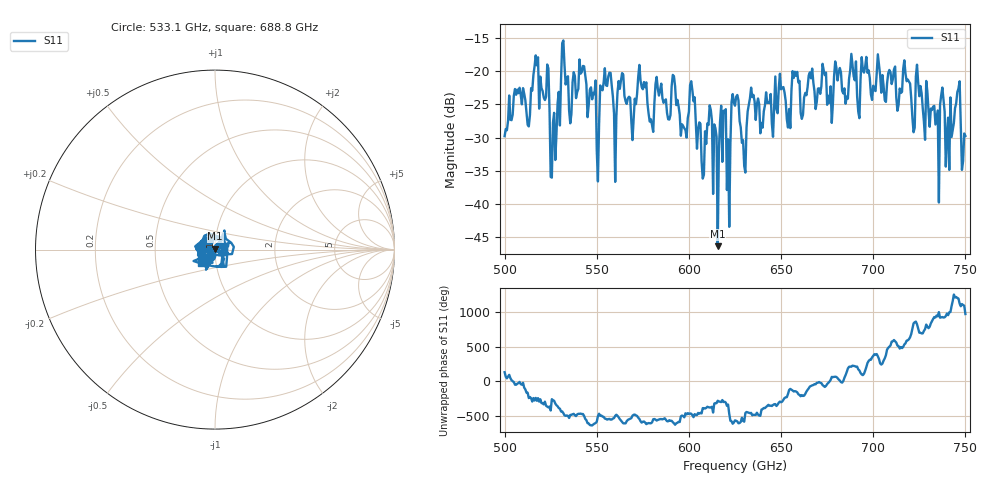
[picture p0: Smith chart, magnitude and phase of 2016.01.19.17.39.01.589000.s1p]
!Created with skrf (http://scikit-rf.org).
# GHz S RI R 50.0
!freq ReS11 ImS11
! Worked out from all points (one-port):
!   401 points, 500 GHz to 750 GHz, reference 50 ohm
!   lowest |S11| = -46.4 dB at 615.6 GHz (marker M1), VSWR 1.01, Z = 50.1 + j0.466 ohm
!   |S11| at or under -10 dB: start of sweep to end of sweep
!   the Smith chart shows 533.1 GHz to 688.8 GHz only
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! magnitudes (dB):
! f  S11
! 500 GHz  -29.8
! 506.9 GHz  -22.7
! 513.1 GHz  -28.3
! 516.9 GHz  -17.6
! 523.1 GHz  -19.0
! 526.2 GHz  -27.7
! 531.2 GHz  -15.8
! 535.6 GHz  -27.8
! 541.9 GHz  -20.1
! 550 GHz  -31.9
! 553.1 GHz  -22.9
! 560 GHz  -36.7
! 562.5 GHz  -22.6
! 593.8 GHz  -24.3
! 615.6 GHz  -46.4
! 618.8 GHz  -25.9
! 621.9 GHz  -43.5
! 625 GHz  -25.2
! 630 GHz  -34.3
! 633.8 GHz  -22.5
! 656.2 GHz  -20.0
! 687.5 GHz  -19.8
! 718.8 GHz  -21.2
! 734.4 GHz  -27.0
! 737.5 GHz  -22.4
! 740 GHz  -29.4
! 745.6 GHz  -23.1
! 750 GHz  -29.7
